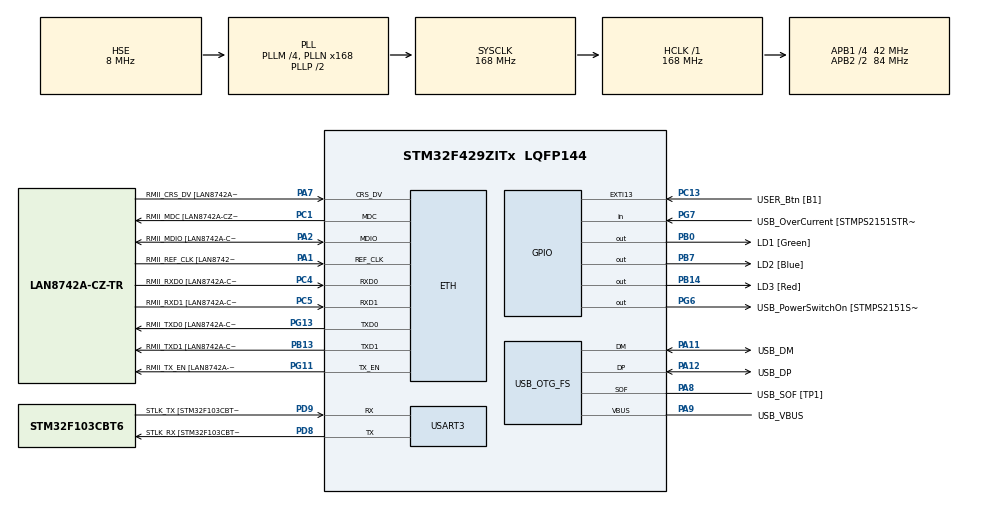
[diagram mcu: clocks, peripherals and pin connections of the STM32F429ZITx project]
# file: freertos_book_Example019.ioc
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ETH.MediaInterface=HAL_ETH_RMII_MODE
ETH.PHY_Name=LAN8742A_PHY_ADDRESS
ETH.PHY_Value=0
ETH.PhyAddress=0
FREERTOS.MEMORY_ALLOCATION=0
FREERTOS.Tasks01=defaultTask,0,128,StartDefaultTask,Default,NULL,Dynamic,NULL,NULL
FREERTOS.configUSE_NEWLIB_REENTRANT=1
Mcu.Family=STM32F4
Mcu.Name=STM32F429ZITx
Mcu.Package=LQFP144
NVIC.EXTI15_10_IRQn=true\:5\:0\:false\:false\:true\:true\:true\:true\:true
NVIC.PriorityGroup=NVIC_PRIORITYGROUP_4
NVIC.TIM7_IRQn=true\:15\:0\:false\:false\:true\:false\:false\:true\:true
NVIC.TimeBase=TIM7_IRQn
NVIC.TimeBaseIP=TIM7
PA1.GPIO_Label=RMII_REF_CLK [LAN8742A-CZ-TR_REFCLK0]
PA1.Mode=RMII
PA1.Signal=ETH_REF_CLK
PA10.GPIO_Label=USB_ID
PA10.Signal=USB_OTG_FS_ID
PA11.GPIO_Label=USB_DM
PA11.Mode=Device_Only
PA11.Signal=USB_OTG_FS_DM
PA12.GPIO_Label=USB_DP
PA12.Mode=Device_Only
PA12.Signal=USB_OTG_FS_DP
PA13.GPIO_Label=TMS
PA13.Mode=Serial_Wire
PA13.Signal=SYS_JTMS-SWDIO
PA14.GPIO_Label=TCK
PA14.Mode=Serial_Wire
PA14.Signal=SYS_JTCK-SWCLK
PA2.GPIO_Label=RMII_MDIO [LAN8742A-CZ-TR_MDIO]
PA2.Mode=RMII
PA2.Signal=ETH_MDIO
PA7.GPIO_Label=RMII_CRS_DV [LAN8742A-CZ-TR_CRS_DV]
PA7.Mode=RMII
PA7.Signal=ETH_CRS_DV
PA8.GPIO_Label=USB_SOF [TP1]
PA8.Mode=Activate_SOF_FS
PA8.Signal=USB_OTG_FS_SOF
PA9.GPIO_Label=USB_VBUS
PA9.Mode=Activate_VBUS
PA9.Signal=USB_OTG_FS_VBUS
PB0.GPIO_Label=LD1 [Green]
PB0.Signal=GPIO_Output
PB13.GPIO_Label=RMII_TXD1 [LAN8742A-CZ-TR_TXD1]
PB13.Mode=RMII
PB13.Signal=ETH_TXD1
PB14.GPIO_Label=LD3 [Red]
PB14.Signal=GPIO_Output
PB7.GPIO_Label=LD2 [Blue]
PB7.Signal=GPIO_Output
PC1.GPIO_Label=RMII_MDC [LAN8742A-CZ-TR_MDC]
PC1.Mode=RMII
PC1.Signal=ETH_MDC
PC13.GPIO_Label=USER_Btn [B1]
PC13.GPIO_ModeDefaultEXTI=GPIO_MODE_IT_FALLING
PC13.Signal=GPXTI13
PC14/OSC32_IN.Mode=LSE-External-Oscillator
PC14/OSC32_IN.Signal=RCC_OSC32_IN
PC15/OSC32_OUT.Mode=LSE-External-Oscillator
PC15/OSC32_OUT.Signal=RCC_OSC32_OUT
PC4.GPIO_Label=RMII_RXD0 [LAN8742A-CZ-TR_RXD0]
PC4.Mode=RMII
PC4.Signal=ETH_RXD0
PC5.GPIO_Label=RMII_RXD1 [LAN8742A-CZ-TR_RXD1]
PC5.Mode=RMII
PC5.Signal=ETH_RXD1
PD8.GPIO_Label=STLK_RX [STM32F103CBT6_PA3]
PD8.Mode=Asynchronous
PD8.Signal=USART3_TX
PD9.GPIO_Label=STLK_TX [STM32F103CBT6_PA2]
PD9.Mode=Asynchronous
PD9.Signal=USART3_RX
PG11.GPIO_Label=RMII_TX_EN [LAN8742A-CZ-TR_TXEN]
PG11.Mode=RMII
PG11.Signal=ETH_TX_EN
PG13.GPIO_Label=RMII_TXD0 [LAN8742A-CZ-TR_TXD0]
PG13.Mode=RMII
PG13.Signal=ETH_TXD0
PG6.GPIO_Label=USB_PowerSwitchOn [STMPS2151STR_EN]
PG6.Signal=GPIO_Output
PG7.GPIO_Label=USB_OverCurrent [STMPS2151STR_FAULT]
PG7.Signal=GPIO_Input
PH0/OSC_IN.GPIO_Label=MCO [STM32F103CBT6_PA8]
PH0/OSC_IN.Mode=HSE-External-Clock-Source
PH0/OSC_IN.Signal=RCC_OSC_IN
PH1/OSC_OUT.Mode=HSE-External-Clock-Source
PH1/OSC_OUT.Signal=RCC_OSC_OUT
ProjectManager.HeapSize=0x200
ProjectManager.StackSize=0x400
ProjectManager.TargetToolchain=STM32CubeIDE
RCC.48MHZClocksFreq_Value=48000000
RCC.AHBFreq_Value=168000000
RCC.APB1CLKDivider=RCC_HCLK_DIV4
RCC.APB1Freq_Value=42000000
RCC.APB1TimFreq_Value=84000000
RCC.APB2CLKDivider=RCC_HCLK_DIV2
RCC.APB2Freq_Value=84000000
RCC.APB2TimCLKDivider=2
RCC.APB2TimFreq_Value=168000000
RCC.CortexFreq_Value=168000000
RCC.HCLKFreq_Value=168000000
RCC.HSE_VALUE=8000000
RCC.HSI_VALUE=16000000
RCC.PLLM=4
RCC.PLLMUL=RCC_PLL_MUL9
RCC.PLLN=168
RCC.PLLQ=7
RCC.PRESCALERUSB=RCC_USBCLKSOURCE_PLL_DIV1_5
RCC.SYSCLKFreq_VALUE=168000000
RCC.SYSCLKSource=RCC_SYSCLKSOURCE_PLLCLK
RCC.SYSCLKSourceVirtual=RCC_SYSCLKSOURCE_PLLCLK
RCC.USBFreq_Value=48000000
RCC.VCOOutputFreq_Value=336000000
USART3.VirtualMode=VM_ASYNC
USB_OTG_FS.VirtualMode=Device_Only
VP_FREERTOS_VS_CMSIS_V1.Mode=CMSIS_V1
VP_SYS_VS_tim7.Mode=TIM7
board=NUCLEO-F429ZI

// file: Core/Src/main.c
/* USER CODE BEGIN Header */
/**
  ******************************************************************************
  * @file           : main.c
  * @brief          : Main program body
  ******************************************************************************
  * @attention
  *
  * Copyright (c) 2022 STMicroelectronics.
  * All rights reserved.
  *
  * This software is licensed under terms that can be found in the LICENSE file
  * in the root directory of this software component.
  * If no LICENSE file comes with this software, it is provided AS-IS.
  *
  ******************************************************************************
  */
/* USER CODE END Header */
#include "main.h"
#include "string.h"
#include "cmsis_os.h"

/* USER CODE BEGIN Includes */
/* Standard includes. */
#include <stdio.h>
#include <stdlib.h>

/* Demo includes. */
#include "supportingFunctions.h"

/* USER CODE END Includes */

ETH_TxPacketConfig TxConfig;
ETH_DMADescTypeDef  DMARxDscrTab[ETH_RX_DESC_CNT]; /* Ethernet Rx DMA Descriptors */
ETH_DMADescTypeDef  DMATxDscrTab[ETH_TX_DESC_CNT]; /* Ethernet Tx DMA Descriptors */

ETH_HandleTypeDef heth;

UART_HandleTypeDef huart3;

PCD_HandleTypeDef hpcd_USB_OTG_FS;

osThreadId defaultTaskHandle;
/* USER CODE BEGIN PV */
/* Declare two variables of type QueueHandle_t.  One queue will be read from
within an ISR, the other will be written to from within an ISR. */
QueueHandle_t IntegerQueueHandle, StringQueueHandle;

/* USER CODE END PV */

void SystemClock_Config(void);
static void MX_GPIO_Init(void);
static void MX_ETH_Init(void);
static void MX_USART3_UART_Init(void);
static void MX_USB_OTG_FS_PCD_Init(void);
void StartDefaultTask(void const * argument);

/* USER CODE BEGIN PFP */
void vIntegerGenerator(void *pvParameters);
void vStringPrinter(void *pvParameters);

/* USER CODE END PFP */

/* USER CODE BEGIN 0 */
/**
  * @brief EXTI line detection callbacks
  * @param GPIO_Pin: Specifies the pins connected EXTI line
  * @retval None
  */
void HAL_GPIO_EXTI_Callback(uint16_t GPIO_Pin)
{
	if( GPIO_Pin == USER_Btn_Pin )
	{
		BaseType_t xHigherPriorityTaskWoken;
		uint32_t ulReceivedNumber;

		/* The strings are declared static const to ensure they are not allocated on the
		   interrupt service routine's stack, and exist even when the interrupt service
		   routine is not executing. */
		static const char *pcStrings[] =
		{
			"String 0\r\n",
			"String 1\r\n",
			"String 2\r\n",
			"String 3\r\n"
		};

		/* As always, xHigherPriorityTaskWoken is initialized to pdFALSE to be able
		   to detect it getting set to pdTRUE inside an interrupt safe API function. */
		xHigherPriorityTaskWoken = pdFALSE;

		/* Read from the queue until the queue is empty. */
		while( xQueueReceiveFromISR( IntegerQueueHandle, &ulReceivedNumber, &xHigherPriorityTaskWoken ) != errQUEUE_EMPTY )
		{
			/* Truncate the received value to the last two bits (values 0 to 3
			   inc.), then use the truncated value as an index into the pcStrings[]
			   array to select a string (char *) to send on the other queue. */
			ulReceivedNumber &= 0x03;
			xQueueSendToBackFromISR( StringQueueHandle, &pcStrings[ ulReceivedNumber ], &xHigherPriorityTaskWoken );
		}

		/* If receiving from xIntegerQueue caused a task to leave the Blocked state,
		   and if the priority of the task that left the Blocked state is higher than
		   the priority of the task in the Running state, then xHigherPriorityTaskWoken
		   will have been set to pdTRUE inside xQueueReceiveFromISR().

    	   If sending to xStringQueue caused a task to leave the Blocked state, and
    	   if the priority of the task that left the Blocked state is higher than the
    	   priority of the task in the Running state, then xHigherPriorityTaskWoken
		   will have been set to pdTRUE inside xQueueSendFromISR().

    	   xHigherPriorityTaskWoken is used as the parameter to portYIELD_FROM_ISR().
		   If xHigherPriorityTaskWoken equals pdTRUE then calling portYIELD_FROM_ISR()
    	   will request a context switch.  If xHigherPriorityTaskWoken is still pdFALSE
		   then calling portYIELD_FROM_ISR() will have no effect.

    	   The implementation of portYIELD_FROM_ISR() used by the Windows port includes
		   a return statement, which is why this function does not explicitly return a
    	   value. */
		portYIELD_FROM_ISR( xHigherPriorityTaskWoken );
	}
}

/* USER CODE END 0 */

int main(void)
{
  /* USER CODE BEGIN 1 */
	const char *pcTextForMain = "freertos_book_Example019 is running: Sending and receiving on a queue from within an interrupt\r\n\n";

  /* USER CODE END 1 */

  /* MCU Configuration--------------------------------------------------------*/

  /* Reset of all peripherals, Initializes the Flash interface and the Systick. */
  HAL_Init();

  /* Configure the system clock */
  SystemClock_Config();

  /* Initialize all configured peripherals */
  MX_GPIO_Init();
  MX_ETH_Init();
  MX_USART3_UART_Init();
  MX_USB_OTG_FS_PCD_Init();
  /* USER CODE BEGIN 2 */
	/* Print out the name of this Example. */
	vPrintString( pcTextForMain );

  /* USER CODE END 2 */

  /* USER CODE BEGIN RTOS_QUEUES */
  /* add queues, ... */
    /* The queue is created to hold a maximum of 3 structures of type Data_t. */
    IntegerQueueHandle = xQueueCreate( 10, sizeof( uint32_t ) );
	StringQueueHandle  = xQueueCreate( 10, sizeof( char * ) );

    /* Check the queues was created successfully */
    configASSERT( IntegerQueueHandle != NULL );
    configASSERT( StringQueueHandle  != NULL );

  /* USER CODE END RTOS_QUEUES */

  /* Create the thread(s) */
  /* definition and creation of defaultTask */
  osThreadDef(defaultTask, StartDefaultTask, osPriorityNormal, 0, 128);
  defaultTaskHandle = osThreadCreate(osThread(defaultTask), NULL);

  /* USER CODE BEGIN RTOS_THREADS */
  /* add threads, ... */
  	/* Create the task that uses a queue to pass integers to the interrupt
	service	routine.  The task is created at priority 1. */
	BaseType_t ret;

	ret = xTaskCreate( vIntegerGenerator,			/* Pointer to the function thats implement the task. */
					   "IntGen",					/* Text name for the task. This is to facilitate debugging only. */
					   (4 * configMINIMAL_STACK_SIZE),	/* Stack depth in words. 				*/
					   NULL,						/* We are not using the task parameter.		*/
					   (tskIDLE_PRIORITY + 1UL),	/* This task will run at priority 1. 		*/
		               NULL );          	        /* We are not using the task handle. */

	/* Check the task was created successfully. */
	configASSERT( ret == pdPASS );

	/* Create the task that prints out the strings sent to it from the interrupt
	service routine.  The task is created at the higher priority of 2. */
	ret = xTaskCreate( vStringPrinter,				/* Pointer to the function thats implement the task. */
					   "String",					/* Text name for the task. This is to facilitate debugging only. */
					   (4 * configMINIMAL_STACK_SIZE),	/* Stack depth in words. 				*/
					   NULL,						/* We are not using the task parameter.		*/
					   (tskIDLE_PRIORITY + 2UL),	/* This task will run at priority 2. 		*/
		               NULL );          	        /* We are not using the task handle. */

	/* Check the task was created successfully. */
	configASSERT( ret == pdPASS );

  /* USER CODE END RTOS_THREADS */

  /* Start scheduler */
  osKernelStart();

  /* We should never get here as control is now taken by the scheduler */
  /* Infinite loop */
  while (1)
  {

  }
}

void SystemClock_Config(void)
{
  RCC_OscInitTypeDef RCC_OscInitStruct = {0};
  RCC_ClkInitTypeDef RCC_ClkInitStruct = {0};

  /** Configure the main internal regulator output voltage
  */
  __HAL_RCC_PWR_CLK_ENABLE();
  __HAL_PWR_VOLTAGESCALING_CONFIG(PWR_REGULATOR_VOLTAGE_SCALE1);

  /** Initializes the RCC Oscillators according to the specified parameters
  * in the RCC_OscInitTypeDef structure.
  */
  RCC_OscInitStruct.OscillatorType = RCC_OSCILLATORTYPE_HSE;
  RCC_OscInitStruct.HSEState = RCC_HSE_BYPASS;
  RCC_OscInitStruct.PLL.PLLState = RCC_PLL_ON;
  RCC_OscInitStruct.PLL.PLLSource = RCC_PLLSOURCE_HSE;
  RCC_OscInitStruct.PLL.PLLM = 4;
  RCC_OscInitStruct.PLL.PLLN = 168;
  RCC_OscInitStruct.PLL.PLLP = RCC_PLLP_DIV2;
  RCC_OscInitStruct.PLL.PLLQ = 7;
  if (HAL_RCC_OscConfig(&RCC_OscInitStruct) != HAL_OK)
  {
    Error_Handler();
  }

  /** Initializes the CPU, AHB and APB buses clocks
  */
  RCC_ClkInitStruct.ClockType = RCC_CLOCKTYPE_HCLK|RCC_CLOCKTYPE_SYSCLK
                              |RCC_CLOCKTYPE_PCLK1|RCC_CLOCKTYPE_PCLK2;
  RCC_ClkInitStruct.SYSCLKSource = RCC_SYSCLKSOURCE_PLLCLK;
  RCC_ClkInitStruct.AHBCLKDivider = RCC_SYSCLK_DIV1;
  RCC_ClkInitStruct.APB1CLKDivider = RCC_HCLK_DIV4;
  RCC_ClkInitStruct.APB2CLKDivider = RCC_HCLK_DIV2;

  if (HAL_RCC_ClockConfig(&RCC_ClkInitStruct, FLASH_LATENCY_5) != HAL_OK)
  {
    Error_Handler();
  }
}

static void MX_ETH_Init(void)
{

   static uint8_t MACAddr[6];

  heth.Instance = ETH;
  MACAddr[0] = 0x00;
  MACAddr[1] = 0x80;
  MACAddr[2] = 0xE1;
  MACAddr[3] = 0x00;
  MACAddr[4] = 0x00;
  MACAddr[5] = 0x00;
  heth.Init.MACAddr = &MACAddr[0];
  heth.Init.MediaInterface = HAL_ETH_RMII_MODE;
  heth.Init.TxDesc = DMATxDscrTab;
  heth.Init.RxDesc = DMARxDscrTab;
  heth.Init.RxBuffLen = 1524;

  if (HAL_ETH_Init(&heth) != HAL_OK)
  {
    Error_Handler();
  }

  memset(&TxConfig, 0 , sizeof(ETH_TxPacketConfig));
  TxConfig.Attributes = ETH_TX_PACKETS_FEATURES_CSUM | ETH_TX_PACKETS_FEATURES_CRCPAD;
  TxConfig.ChecksumCtrl = ETH_CHECKSUM_IPHDR_PAYLOAD_INSERT_PHDR_CALC;
  TxConfig.CRCPadCtrl = ETH_CRC_PAD_INSERT;

}

static void MX_USART3_UART_Init(void)
{

  huart3.Instance = USART3;
  huart3.Init.BaudRate = 115200;
  huart3.Init.WordLength = UART_WORDLENGTH_8B;
  huart3.Init.StopBits = UART_STOPBITS_1;
  huart3.Init.Parity = UART_PARITY_NONE;
  huart3.Init.Mode = UART_MODE_TX_RX;
  huart3.Init.HwFlowCtl = UART_HWCONTROL_NONE;
  huart3.Init.OverSampling = UART_OVERSAMPLING_16;
  if (HAL_UART_Init(&huart3) != HAL_OK)
  {
    Error_Handler();
  }

}

static void MX_USB_OTG_FS_PCD_Init(void)
{

  hpcd_USB_OTG_FS.Instance = USB_OTG_FS;
  hpcd_USB_OTG_FS.Init.dev_endpoints = 4;
  hpcd_USB_OTG_FS.Init.speed = PCD_SPEED_FULL;
  hpcd_USB_OTG_FS.Init.dma_enable = DISABLE;
  hpcd_USB_OTG_FS.Init.phy_itface = PCD_PHY_EMBEDDED;
  hpcd_USB_OTG_FS.Init.Sof_enable = ENABLE;
  hpcd_USB_OTG_FS.Init.low_power_enable = DISABLE;
  hpcd_USB_OTG_FS.Init.lpm_enable = DISABLE;
  hpcd_USB_OTG_FS.Init.vbus_sensing_enable = ENABLE;
  hpcd_USB_OTG_FS.Init.use_dedicated_ep1 = DISABLE;
  if (HAL_PCD_Init(&hpcd_USB_OTG_FS) != HAL_OK)
  {
    Error_Handler();
  }

}

static void MX_GPIO_Init(void)
{
  GPIO_InitTypeDef GPIO_InitStruct = {0};

  /* GPIO Ports Clock Enable */
  __HAL_RCC_GPIOC_CLK_ENABLE();
  __HAL_RCC_GPIOH_CLK_ENABLE();
  __HAL_RCC_GPIOA_CLK_ENABLE();
  __HAL_RCC_GPIOB_CLK_ENABLE();
  __HAL_RCC_GPIOD_CLK_ENABLE();
  __HAL_RCC_GPIOG_CLK_ENABLE();

  /*Configure GPIO pin Output Level */
  HAL_GPIO_WritePin(GPIOB, LD1_Pin|LD3_Pin|LD2_Pin, GPIO_PIN_RESET);

  /*Configure GPIO pin Output Level */
  HAL_GPIO_WritePin(USB_PowerSwitchOn_GPIO_Port, USB_PowerSwitchOn_Pin, GPIO_PIN_RESET);

  /*Configure GPIO pin : USER_Btn_Pin */
  GPIO_InitStruct.Pin = USER_Btn_Pin;
  GPIO_InitStruct.Mode = GPIO_MODE_IT_FALLING;
  GPIO_InitStruct.Pull = GPIO_NOPULL;
  HAL_GPIO_Init(USER_Btn_GPIO_Port, &GPIO_InitStruct);

  /*Configure GPIO pins : LD1_Pin LD3_Pin LD2_Pin */
  GPIO_InitStruct.Pin = LD1_Pin|LD3_Pin|LD2_Pin;
  GPIO_InitStruct.Mode = GPIO_MODE_OUTPUT_PP;
  GPIO_InitStruct.Pull = GPIO_NOPULL;
  GPIO_InitStruct.Speed = GPIO_SPEED_FREQ_LOW;
  HAL_GPIO_Init(GPIOB, &GPIO_InitStruct);

  /*Configure GPIO pin : USB_PowerSwitchOn_Pin */
  GPIO_InitStruct.Pin = USB_PowerSwitchOn_Pin;
  GPIO_InitStruct.Mode = GPIO_MODE_OUTPUT_PP;
  GPIO_InitStruct.Pull = GPIO_NOPULL;
  GPIO_InitStruct.Speed = GPIO_SPEED_FREQ_LOW;
  HAL_GPIO_Init(USB_PowerSwitchOn_GPIO_Port, &GPIO_InitStruct);

  /*Configure GPIO pin : USB_OverCurrent_Pin */
  GPIO_InitStruct.Pin = USB_OverCurrent_Pin;
  GPIO_InitStruct.Mode = GPIO_MODE_INPUT;
  GPIO_InitStruct.Pull = GPIO_NOPULL;
  HAL_GPIO_Init(USB_OverCurrent_GPIO_Port, &GPIO_InitStruct);

  /* EXTI interrupt init*/
  HAL_NVIC_SetPriority(EXTI15_10_IRQn, 5, 0);
  HAL_NVIC_EnableIRQ(EXTI15_10_IRQn);

}

/* USER CODE BEGIN 4 */

/* USER CODE BEGIN Header_vIntegerGenerator */
/**
  * @brief  Function implementing the IntGen thread.
  * @param  argument: Not used
  * @retval None
  */
/* USER CODE END Header_vIntegerGenerator */
void vIntegerGenerator(void *pvParameters)
{
	TickType_t xLastExecutionTime;
	const uint32_t xDelay200ms = 200;
	const TickType_t xDontBlock = pdMS_TO_TICKS( 0 );
	uint32_t ulValueToSend = 0;
	BaseType_t i;

	/* Initialize the variable used by the call to osDelayUntil(). */
	xLastExecutionTime = osKernelSysTick();

	/* Print out the name of this task. */
	vPrintString( "Task Integer Generator is running\r\n" );

	for( ;; )
	{
		/* This is a periodic task.  Block until it is time to run again.
		   The task will execute every 200ms. */
		osDelayUntil( &xLastExecutionTime, xDelay200ms );

		/* Send five numbers to the queue, each value one higher than the
		   previous value.  The numbers are read from the queue by the interrupt
		   service routine.  The interrupt	service routine always empties the
		   queue, so this task is guaranteed to be able to write all five values
		   without needing to specify a block time. */
		for( i = 0; i < 5; i++ )
		{
			xQueueSendToBack( IntegerQueueHandle, &ulValueToSend, xDontBlock );
			ulValueToSend++;
		}
	}
}

/* USER CODE BEGIN Header_vStringPrinter */
/**
* @brief Function implementing the String thread.
* @param argument: Not used
* @retval None
*/
/* USER CODE END Header_vStringPrinter */
void vStringPrinter(void *pvParameters)
{
	char *pcString;

	/* Print out the name of this task. */
	vPrintString( "Task String Printer is running\r\n" );

	for( ;; )
	{
		/* Block on the queue to wait for data to arrive. */
		xQueueReceive( StringQueueHandle, &pcString, portMAX_DELAY );

		/* Print out the received string. */
		vPrintString( pcString );
	}
}

/* USER CODE END 4 */

void StartDefaultTask(void const * argument)
{
  /* USER CODE BEGIN 5 */
  /* Infinite loop */
  for(;;)
  {
    osDelay(50000);
  }
  /* USER CODE END 5 */
}

void HAL_TIM_PeriodElapsedCallback(TIM_HandleTypeDef *htim)
{
  if (htim->Instance == TIM7) {
    HAL_IncTick();
  }
}

void Error_Handler(void)
{
  __disable_irq();
  while (1)
  {
  }
}
